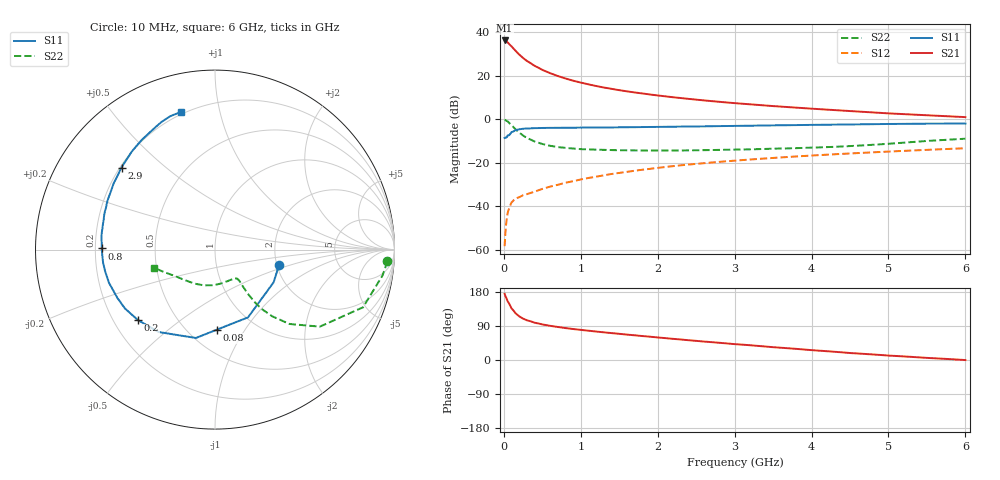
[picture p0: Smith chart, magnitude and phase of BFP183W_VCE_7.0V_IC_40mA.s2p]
! (c) 2017  Infineon Technologies AG, Munich
! Infineon Technologies  Discrete & RF Semiconductors
! BFP183W
! VCE =  7.0 V,  IC =  40 mA
! Common Emitter S-Parameters:  Jan 2017
# GHz  S  MA  R  50
!  f  S11  S21  S12  S22
! GHz  MAG  ANG  MAG  ANG  MAG  ANG  MAG  ANG
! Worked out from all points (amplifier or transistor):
!   77 points, 10 MHz to 6 GHz, reference 50 ohm
!   highest |S21| = 36.1 dB at 10 MHz (marker M1)
!   |S21| within 3 dB of that: start of sweep to 107.6 MHz
!   unconditionally stable (mu >= 1): 832.2 MHz to 3.313 GHz
!   at 130 MHz: K = 0.34, MSG = 34.7 dB, |S12| = -37.2 dB
!   at 2.2 GHz: K = 1.06, MAG = 14.4 dB, |S12| = -21.6 dB
!   at 6 GHz: K = 0.86, MSG = 7.1 dB, |S12| = -13.4 dB
!   S11 on the Smith chart (normalised r, x): 10 MHz: 2.06, -0.40; 80 MHz: 0.68, -0.76; 200 MHz: 0.30, -0.36; 800 MHz: 0.23, +0.00; 2.9 GHz: 0.21, +0.36; 6 GHz: 0.19, +0.76
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0.01  0.367 -13.1  64.01 174.8  0.0012 86.1  0.9629 -3.9
0.02  0.374 -29.2  63.16 169.1  0.0024 87.5  0.945 -8.7
0.05  0.42 -64.0  57.85 154.8  0.007 68.0  0.8854 -21.3
0.08  0.4465 -88.7  50.58 144.5  0.01 62.2  0.7819 -29.6
0.1  0.5037 -102.2  46.87 136.0  0.0121 59.9  0.7241 -36.4
0.15  0.5561 -124.3  37.38 123.7  0.0149 54.5  0.5856 -45.0
0.2  0.5819 -137.5  30.35 115.2  0.016 51.6  0.4888 -49.4
0.25  0.5993 -146.8  25.38 109.2  0.0178 50.3  0.4185 -51.9
0.3  0.6069 -153.7  21.64 104.8  0.0188 50.8  0.3682 -52.9
0.4  0.619 -162.6  16.71 98.4  0.0215 52.7  0.3046 -53.4
0.5  0.6241 -168.9  13.51 93.9  0.0248 54.9  0.2675 -53.0
0.6  0.6278 -173.4  11.37 90.3  0.028 56.5  0.2435 -52.7
0.7  0.6288 -177.1  9.77 87.2  0.0308 60.1  0.2273 -52.2
0.8  0.6315 179.4  8.579 84.3  0.0344 61.9  0.2179 -52.0
1.1  0.6378 171.5  6.272 77.3  0.0443 63.8  0.201 -53.4
1.5  0.6461 163.0  4.614 69.1  0.0579 64.4  0.192 -58.2
2.1  0.6633 151.6  3.327 57.7  0.0792 63.5  0.1889 -70.2
2.9  0.6921 138.8  2.405 43.7  0.1073 59.6  0.1971 -91.5
3.1  0.6994 135.9  2.252 40.5  0.1141 58.5  0.2 -96.9
4.1  0.7379 122.5  1.691 24.6  0.1485 52.3  0.2234 -123.8
5.1  0.7734 111.9  1.324 10.6  0.1823 45.9  0.2786 -149.6
6  0.7896 104.0  1.108 -0.2  0.2136 39.7  0.3538 -163.4
